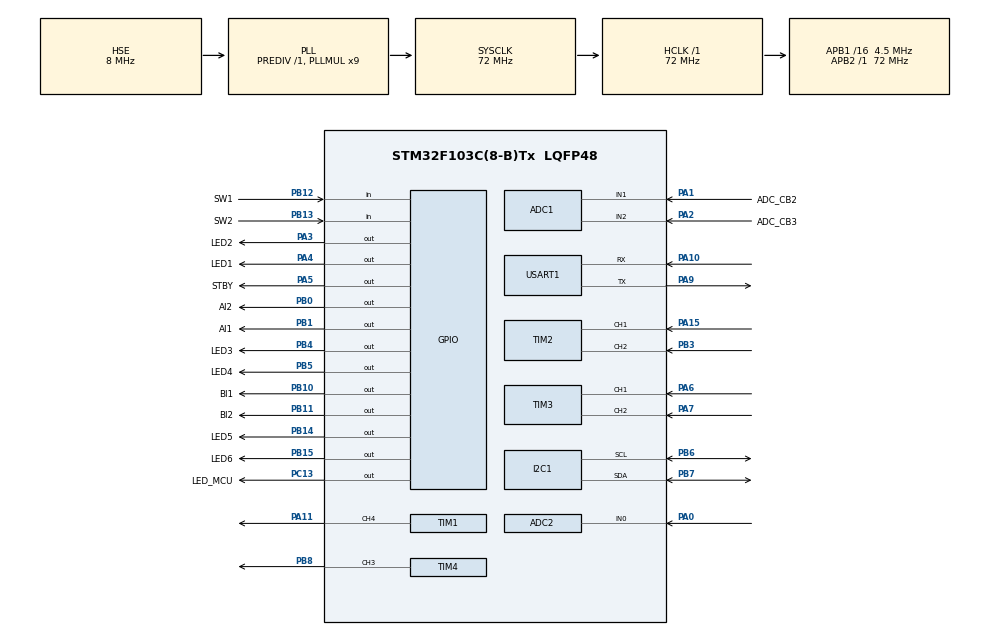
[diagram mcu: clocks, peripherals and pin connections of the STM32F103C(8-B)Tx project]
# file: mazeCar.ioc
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ADC1.Channel-3\#ChannelRegularConversion=ADC_CHANNEL_1
ADC1.Channel-4\#ChannelRegularConversion=ADC_CHANNEL_2
ADC1.ContinuousConvMode=ENABLE
ADC1.NbrOfConversion=2
ADC1.NbrOfConversionFlag=1
ADC1.Rank-3\#ChannelRegularConversion=1
ADC1.Rank-4\#ChannelRegularConversion=2
ADC1.SamplingTime-3\#ChannelRegularConversion=ADC_SAMPLETIME_239CYCLES_5
ADC1.SamplingTime-4\#ChannelRegularConversion=ADC_SAMPLETIME_239CYCLES_5
ADC1.master=1
ADC2.Channel-0\#ChannelRegularConversion=ADC_CHANNEL_0
ADC2.NbrOfConversionFlag=1
ADC2.Rank-0\#ChannelRegularConversion=1
ADC2.SamplingTime-0\#ChannelRegularConversion=ADC_SAMPLETIME_239CYCLES_5
I2C1.I2C_Mode=I2C_Standard
Mcu.Family=STM32F1
Mcu.Name=STM32F103C(8-B)Tx
Mcu.Package=LQFP48
NVIC.PriorityGroup=NVIC_PRIORITYGROUP_4
NVIC.TIM2_IRQn=true\:0\:0\:false\:false\:true\:true\:true\:true
NVIC.TIM3_IRQn=true\:0\:0\:false\:false\:true\:true\:true\:true
PA0-WKUP.Signal=ADCx_IN0
PA1.GPIO_Label=ADC_CB2
PA1.Signal=ADCx_IN1
PA10.Mode=Asynchronous
PA10.Signal=USART1_RX
PA11.Signal=S_TIM1_CH4
PA13.Mode=Serial_Wire
PA13.Signal=SYS_JTMS-SWDIO
PA14.Mode=Serial_Wire
PA14.Signal=SYS_JTCK-SWCLK
PA15.Signal=S_TIM2_CH1_ETR
PA2.GPIO_Label=ADC_CB3
PA2.Signal=ADCx_IN2
PA3.GPIO_Label=LED2
PA3.Signal=GPIO_Output
PA4.GPIO_Label=LED1
PA4.Signal=GPIO_Output
PA5.GPIO_Label=STBY
PA5.Signal=GPIO_Output
PA6.Signal=S_TIM3_CH1
PA7.Signal=S_TIM3_CH2
PA9.Mode=Asynchronous
PA9.Signal=USART1_TX
PB0.GPIO_Label=AI2
PB0.Signal=GPIO_Output
PB1.GPIO_Label=AI1
PB1.Signal=GPIO_Output
PB10.GPIO_Label=BI1
PB10.Signal=GPIO_Output
PB11.GPIO_Label=BI2
PB11.Signal=GPIO_Output
PB12.GPIO_Label=SW1
PB12.GPIO_PuPd=GPIO_PULLUP
PB12.Signal=GPIO_Input
PB13.GPIO_Label=SW2
PB13.GPIO_PuPd=GPIO_PULLUP
PB13.Signal=GPIO_Input
PB14.GPIO_Label=LED5
PB14.Signal=GPIO_Output
PB15.GPIO_Label=LED6
PB15.Signal=GPIO_Output
PB3.Signal=S_TIM2_CH2
PB4.GPIO_Label=LED3
PB4.Signal=GPIO_Output
PB5.GPIO_Label=LED4
PB5.Signal=GPIO_Output
PB6.Mode=I2C
PB6.Signal=I2C1_SCL
PB7.Mode=I2C
PB7.Signal=I2C1_SDA
PB8.Signal=S_TIM4_CH3
PC13-TAMPER-RTC.GPIO_Label=LED_MCU
PC13-TAMPER-RTC.Signal=GPIO_Output
PD0-OSC_IN.Mode=HSE-External-Oscillator
PD0-OSC_IN.Signal=RCC_OSC_IN
PD1-OSC_OUT.Mode=HSE-External-Oscillator
PD1-OSC_OUT.Signal=RCC_OSC_OUT
ProjectManager.HeapSize=0x200
ProjectManager.StackSize=0x400
ProjectManager.TargetToolchain=STM32CubeIDE
RCC.ADCPresc=RCC_ADCPCLK2_DIV6
RCC.AHBFreq_Value=72000000
RCC.APB1CLKDivider=RCC_HCLK_DIV16
RCC.APB1Freq_Value=4500000
RCC.APB1TimFreq_Value=9000000
RCC.APB2Freq_Value=72000000
RCC.APB2TimFreq_Value=72000000
RCC.HCLKFreq_Value=72000000
RCC.PLLMUL=RCC_PLL_MUL9
RCC.PLLSourceVirtual=RCC_PLLSOURCE_HSE
RCC.SYSCLKFreq_VALUE=72000000
RCC.SYSCLKSource=RCC_SYSCLKSOURCE_PLLCLK
RCC.USBFreq_Value=72000000
SH.ADCx_IN0.0=ADC2_IN0,IN0
SH.ADCx_IN1.0=ADC1_IN1,IN1
SH.ADCx_IN2.0=ADC1_IN2,IN2
SH.S_TIM1_CH4.0=TIM1_CH4,PWM Generation4 CH4
SH.S_TIM2_CH1_ETR.0=TIM2_CH1,Encoder_Interface
SH.S_TIM2_CH2.0=TIM2_CH2,Encoder_Interface
SH.S_TIM3_CH1.0=TIM3_CH1,Encoder_Interface
SH.S_TIM3_CH2.0=TIM3_CH2,Encoder_Interface
SH.S_TIM4_CH3.0=TIM4_CH3,PWM Generation3 CH3
TIM1.Channel-PWM\ Generation4\ CH4=TIM_CHANNEL_4
TIM1.Period=10000-1
TIM1.Prescaler=18-1
TIM4.Channel-PWM\ Generation3\ CH3=TIM_CHANNEL_3
TIM4.Period=10000-1
TIM4.Prescaler=18-1
USART1.VirtualMode=VM_ASYNC
VP_TIM1_VS_ClockSourceINT.Mode=Internal
VP_TIM4_VS_ClockSourceINT.Mode=Internal
board=custom

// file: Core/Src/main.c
/* USER CODE BEGIN Header */
/**
  ******************************************************************************
  * @file           : main.c
  * @brief          : Main program body
  ******************************************************************************
  * @attention
  *
  * Copyright (c) 2024 STMicroelectronics.
  * All rights reserved.
  *
  * This software is licensed under terms that can be found in the LICENSE file
  * in the root directory of this software component.
  * If no LICENSE file comes with this software, it is provided AS-IS.
  *
  ******************************************************************************
  */
/* USER CODE END Header */
#include "main.h"

/* USER CODE BEGIN Includes */
#include <stdio.h>
#include "MPU6050.h"
#include "math.h"
#include "API.h"
#include <stdlib.h>

#include "queue.h"
#include "queue_int.h"
#include "stack.h"
#include "FEE.h"

#include "encoder.h"
#include "TB6612FNG_driver.h"
/* USER CODE END Includes */

ADC_HandleTypeDef hadc1;
ADC_HandleTypeDef hadc2;

I2C_HandleTypeDef hi2c1;

TIM_HandleTypeDef htim1;
TIM_HandleTypeDef htim2;
TIM_HandleTypeDef htim3;
TIM_HandleTypeDef htim4;

UART_HandleTypeDef huart1;

/* USER CODE BEGIN PV */

double distance_straight = 0;
double distance_left = 0;
double distance_right = 0;

char Buffer[25] = {0};

MPU6050_t MPU6050;

double roll,pitch,yaw, froll, fpitch, fyaw = 0;
uint32_t elapsedTime, currentTime, previousTime;
double dt = 0.001;

uint8_t flag = 0;

const  int rows=16;
const  int cols=16;
const int dx[] = {1, -1, 0, 0};
const int dy[] = {0, 0, -1, 1};

wall_maze maze;
Queue myQueue;

PIDController WheelPID = {PID_KP, PID_KI, PID_KD,
                     PID_TAU,
                     PID_LIM_MIN, PID_LIM_MAX,
                     PID_LIM_MIN_INT, PID_LIM_MAX_INT,
                     SAMPLE_TIME_S};
double WheelPWM;

uint8_t row, col = 0;
uint8_t read_row, read_col = 0;
encoder_t enc_Right;
encoder_t enc_Left;
uint8_t debug;
uint16_t pwm = 3000;
uint64_t test = 0;
PIDController forwardPID = {PID_KP_MOTOR, PID_KI_MOTOR, PID_KD_MOTOR,
                     PID_TAU_MOTOR,
                     PID_LIM_MIN_MOTOR, PID_LIM_MAX_MOTOR,
                     PID_LIM_MIN_INT_MOTOR, PID_LIM_MAX_INT_MOTOR,
                     SAMPLE_TIME_S_MOTOR};
double forwardPWM;
PIDController leftWheelPID = {PID_KP_MOTOR, PID_KI_MOTOR, PID_KD_MOTOR,
                     PID_TAU_MOTOR,
                     PID_LIM_MIN_MOTOR, PID_LIM_MAX_MOTOR,
                     PID_LIM_MIN_INT_MOTOR, PID_LIM_MAX_INT_MOTOR,
                     SAMPLE_TIME_S_MOTOR};
PIDController rightWheelPID = {PID_KP_MOTOR, PID_KI_MOTOR, PID_KD_MOTOR,
                     PID_TAU_MOTOR,
                     PID_LIM_MIN_MOTOR, PID_LIM_MAX_MOTOR,
                     PID_LIM_MIN_INT_MOTOR, PID_LIM_MAX_INT_MOTOR,
					 SAMPLE_TIME_S_MOTOR};

double leftPWM = 3000;
double rightPWM = 3000;

uint32_t Lpwm;
uint32_t Rpwm;
int hieu = 0;
/* USER CODE END PV */

void SystemClock_Config(void);
static void MX_GPIO_Init(void);
static void MX_ADC1_Init(void);
static void MX_USART1_UART_Init(void);
static void MX_I2C1_Init(void);
static void MX_TIM2_Init(void);
static void MX_TIM1_Init(void);
static void MX_TIM3_Init(void);
static void MX_TIM4_Init(void);
static void MX_ADC2_Init(void);

/* USER CODE BEGIN 0 */

int _write(int file, char *ptr, int len)
{
    HAL_UART_Transmit(&huart1, (uint8_t*)ptr, len, HAL_MAX_DELAY);
    return len;
}

void angle(int goc){
	while(1){
		previousTime = HAL_GetTick();
		MPU6050_Read_Gyro(&hi2c1, &MPU6050);
		roll += (MPU6050.Gx - froll) *dt;
		pitch += (MPU6050.Gy - fpitch) *dt;
		yaw += (MPU6050.Gz - fyaw) *dt;

		WheelPWM = PIDController_Update(&WheelPID, goc, abs(yaw));
		__HAL_TIM_SET_COMPARE(&htim1, TIM_CHANNEL_4,abs(WheelPWM));
		__HAL_TIM_SET_COMPARE(&htim4, TIM_CHANNEL_3,abs(WheelPWM));
		if(abs(yaw) > goc)return;
		currentTime = HAL_GetTick();
		elapsedTime = currentTime - previousTime;
		dt = ((double) elapsedTime) / 1000;
	}
}
void ADC_Select_CH0(void){
    ADC_ChannelConfTypeDef sConfig = {0};

	sConfig.Channel = ADC_CHANNEL_0;
	sConfig.Rank = ADC_REGULAR_RANK_1;
	sConfig.SamplingTime = ADC_SAMPLETIME_71CYCLES_5;
	if (HAL_ADC_ConfigChannel(&hadc1, &sConfig) != HAL_OK)
	{
	  Error_Handler();
	}
}
void ADC_Select_CH1(void){
  ADC_ChannelConfTypeDef sConfig = {0};
	sConfig.Channel = ADC_CHANNEL_1;
	sConfig.Rank = ADC_REGULAR_RANK_1;
	sConfig.SamplingTime = ADC_SAMPLETIME_71CYCLES_5;
	if (HAL_ADC_ConfigChannel(&hadc1, &sConfig) != HAL_OK)
	{
	  Error_Handler();
	}
}
void ADC_Select_CH2(void){
  ADC_ChannelConfTypeDef sConfig = {0};
	sConfig.Channel = ADC_CHANNEL_2;
	sConfig.Rank = ADC_REGULAR_RANK_1;
	sConfig.SamplingTime = ADC_SAMPLETIME_71CYCLES_5;
	if (HAL_ADC_ConfigChannel(&hadc1, &sConfig) != HAL_OK)
	{
	  Error_Handler();
	}
}
double distanceRight(){
	uint16_t ADC_VAL;
	double vol = 0;
	uint16_t total = 0;
  	ADC_Select_CH2();
  	for (uint8_t i = 0; i < 5; i++){
  	  	HAL_ADC_Start(&hadc1);
  	  	HAL_ADC_PollForConversion(&hadc1, 1000);
  	  	ADC_VAL = HAL_ADC_GetValue(&hadc1);
  	  	HAL_ADC_Stop(&hadc1);
  	    total = total + ADC_VAL;
  	}

  	vol = (total/5*3.3)/4095;
  	return 13 * pow(vol, -1) - 0.7;
}
double distanceStraight(){
	uint16_t ADC_VAL;
	double vol = 0;
	uint16_t total = 0;
  	ADC_Select_CH1();
  	for (uint8_t i = 0; i < 5; i++){
  	  	HAL_ADC_Start(&hadc1);
  	  	HAL_ADC_PollForConversion(&hadc1, 1000);
  	  	ADC_VAL = HAL_ADC_GetValue(&hadc1);
  	  	HAL_ADC_Stop(&hadc1);
  	    total = total + ADC_VAL;
  	}

  	vol = (total/5*3.3)/4095;
  	return 13 * pow(vol, -1)- 0.7;
}

double distanceLeft(){

	uint16_t ADC_VAL;
	double vol = 0;
	uint16_t total = 0;

  	for (uint8_t i = 0; i < 5; i++){
  		HAL_ADC_Start(&hadc2);
  	  	HAL_ADC_PollForConversion(&hadc2, 1000);
  	  	ADC_VAL = HAL_ADC_GetValue(&hadc2);
  	    total = total + ADC_VAL;
  	    HAL_ADC_Stop(&hadc2);
  	}
  	vol = (total/5*3.3)/4095;
  	return 13 * pow(vol, -1) - 0.7;
}

void filter_gyro();

bool isValid(int x, int y) {
    return (x >= 0 && x < rows && y >= 0 && y < cols);
}
void init_arr(int arr[ROW][COL], int row, int col) {
    for (int i = 0; i < row; i++) {
        for (int j = 0; j < col; j++) {
            arr[i][j] = -1;
        }
    }
}
void check_and_fill(int arr[ROW][COL],int row,int col,int value)
{
    if(row<0 ||col<0||row>=16||col>=16||arr[row][col]!=-1)return;
    value+=1;
    coord point={row,col,value};
    pushQueue(&myQueue,point);
    arr[row][col]=value;
}

void init_flood(int arr[ROW][COL],int row,int col)
{
    int count_=0;
    coord point={row,col,count_};
    pushQueue(&myQueue,point);
    arr[row][col]=0;
    coord point2={row+1,col,count_};
    pushQueue(&myQueue,point2);
    arr[row+1][col]=0;
    coord point3={row,col+1,count_};
    pushQueue(&myQueue,point3);
    arr[row][col+1]=0;
    coord point4={row+1,col+1,count_};
    pushQueue(&myQueue,point4);
    arr[row+1][col+1]=0;
    while (!isEmptyQueue(&myQueue)) {
        coord frontCoord = peekQueue(&myQueue);
        popQueue(&myQueue);
        check_and_fill(arr,frontCoord.row+1,frontCoord.col,frontCoord.value);
        check_and_fill(arr,frontCoord.row-1,frontCoord.col,frontCoord.value);
        check_and_fill(arr,frontCoord.row,frontCoord.col+1,frontCoord.value);
        check_and_fill(arr,frontCoord.row,frontCoord.col-1,frontCoord.value);
    }
}

void init_maze()
{
    for(int i =0;i<16;i++)
    {
        for(int j=0;j<16;j++)
        {
            maze.cells[i][j].visited=0;
            maze.cells[i][j].angle_update=90;
            maze.cells[i][j].dead=0;
            for(int k = 0 ;k<4;k++)maze.cells[i][j].walls[k]=0;
        }
    }
}

void intToStr(int num, char *str) {
    sprintf(str, "%d", num);
}
cell_info cell_direction_adjust(cell_info cell)
{
    cell_info cell_new;
    cell_new=cell;

    for(int i=0;i<4;i++)
    {
        int ind = i;

        switch(cell.angle_update)
        {
            case 90:
                break;
            case 270:
                if(i%2==0)ind+=1;
                else ind-=1;
                break;
            case 0:
                if(i==0 || i ==1)ind+=2;
                else if(i==2)ind=1;
                else ind=0;
                break;
            case 180:
                if(i==2 || i ==3)ind-=2;
                else if(i==0)ind=3;
                else ind=2;
                break;
        }
        cell_new.walls[i]=cell.walls[ind];
    }
    return cell_new;
}

cell_info update_walls(int angle_now,int row,int col)
{
    cell_info new_cell;
    new_cell.angle_update=angle_now;
    double straight = distanceStraight();
    double left = distanceLeft();
    double right = distanceRight();
    bool boolfront = 0;
    bool boolleft = 0;
    bool boolright = 0;
    if(left < 10){
    	boolleft = 1;
    }
    if (right < 10){
    	boolright = 1;
    }
    if(straight < 6){
    	boolfront = 1;
    }

    new_cell.walls[UP]=boolfront;
    new_cell.walls[DOWN]=0;
    new_cell.walls[LEFT]=boolleft;
    new_cell.walls[RIGHT]=boolright;
    new_cell.dead=0;
    new_cell.visited=1;
    maze.cells[row][col]=cell_direction_adjust(new_cell);
    if(new_cell.walls[UP]==1&&new_cell.walls[LEFT]==1&&new_cell.walls[RIGHT]==1&&row!=0&&col!=0)
    {
        maze.cells[row][col].dead=1;
    }
    for(int i=0;i<4;i++)
    {
        int newRow=row+dy[i];
        int newCol=col+dx[i];
        if(isValid(newRow,newCol))
        {
            if(i==UP)maze.cells[newRow][newCol].walls[DOWN]=maze.cells[row][col].walls[UP];
            else if(i==LEFT)maze.cells[newRow][newCol].walls[RIGHT]=maze.cells[row][col].walls[LEFT];
            else if(i==RIGHT)maze.cells[newRow][newCol].walls[LEFT]=maze.cells[row][col].walls[RIGHT];
        }
    }
    return new_cell;
}
void go_to_cell(int *angle_now,int dir)
{
    switch(dir)
            {
                case -1:
                    break;
                case UP:
                    API_moveForward();
                    break;
                case DOWN:
                    *angle_now-=180;
                    API_turnRight();
                    API_turnRight();
                    API_moveForward();
                    break;
                case LEFT:
                    *angle_now+=90;
                    API_turnLeft();
                    API_moveForward();
                    break;
                case RIGHT:
                    *angle_now-=90;
                    API_turnRight();
                    API_moveForward();
                    break;
                default:
                    break;
            }
            *angle_now = *angle_now % 360;
            // �?ảm bảo góc không bị âm
            if (*angle_now < 0) {
                *angle_now += 360;
            }
}
bool check_wall_angle(cell_info cell,int *dir)
{
    switch(cell.angle_update)
    {
        case 90:
            break;
        case 270:
            if(*dir%2==0)*dir+=1;
            else *dir-=1;
            break;
        case 0:
            if(*dir==0 || *dir ==1)*dir+=2;
            else if(*dir==2)*dir=1;
            else *dir=0;
            break;
        case 180:
             if(*dir==2 || *dir ==3)*dir-=2;
            else if(*dir==0)*dir=3;
            else *dir=2;
            break;
    }
    return cell.walls[*dir];
}
coord get_min_neighbour(cell_info cell_wall,coord cur, int (*arr)[ROW][COL],bool change_)
{
    int min_neightbor=255;
    coord next_step;
    next_step.value=-1;
    int ind;
    for (int dir = 0; dir < 4; ++dir) {
        int newRow = cur.row + dy[dir]; // 0 0 -1 1
        int newCol = cur.col + dx[dir]; //1 -1 0 0
        ind=dir;
        bool check_=cell_wall.walls[dir];
        if(change_)check_=check_wall_angle(cell_wall,&ind);

        if(isValid(newRow,newCol) && !check_)
        {
            if((*arr)[newRow][newCol]<=min_neightbor)
            {
                min_neightbor=(*arr)[newRow][newCol];
                next_step.row=newRow;
                next_step.col=newCol;
                next_step.value=ind;
            }
        }
    }
    return next_step;
}
void flood(Stack *stack_flood,int (*arr)[ROW][COL])
{
    // log_out("flood");
    coord cur_stack;
    coord next_step;

    while(!isEmptyStack(stack_flood))
    {

        cur_stack=peekStack(stack_flood);
        popStack(stack_flood);
        int min_neightbor=255;
        bool check_;

        next_step=get_min_neighbour(maze.cells[cur_stack.row][cur_stack.col],cur_stack,arr,0);

        min_neightbor=(*arr)[next_step.row][next_step.col];
        if((*arr)[cur_stack.row][cur_stack.col]-1 != min_neightbor )
        {
            for(int i =0 ;i<4;i++)
            {
                coord cur_add;
                cur_add.row= cur_stack.row + dy[i]; // 0 0 -1 1
                cur_add.col= cur_stack.col + dx[i]; //1 -1 0 0
                check_=maze.cells[cur_stack.row][cur_stack.col].walls[i];
                if(isValid(cur_add.row,cur_add.col) &&(*arr)[cur_add.row][cur_add.col]!=0&&!check_)
                {
                    pushStack(stack_flood,cur_add);
                }
            }
            if((*arr)[cur_stack.row][cur_stack.col]!=0)(*arr)[cur_stack.row][cur_stack.col]=min_neightbor+1;
        }
        int stack_size=sizeStack(stack_flood);
        if(stack_size>=35){
            for(int i=0;i<stack_size;i++)
            {
                popStack(stack_flood);
            }
            return;
        }
    }
}
coord floodfill(coord start,coord dest,int (*arr)[ROW][COL],int *angle_now)
{
    Queue path_queue;
    initializeQueue(&path_queue);

    pushQueue(&path_queue,start);
    coord cur=start;
    cell_info new_cell;

    Stack stack_flood;
    initializeStack(&stack_flood);

    pushStack(&stack_flood,start);

    int path_distance_value_find=0;
    // int save_row,save_col;
    coord next_step;

    while(1)
    {
        if(!isEmptyQueue(&path_queue)) // dua ra quyet dinh va go
        {
            cur = peekQueue(&path_queue);

            new_cell=update_walls(*angle_now,cur.row,cur.col);

            if((*arr)[cur.row][cur.col]==(*arr)[dest.row][dest.col]){
                break;
            }
            flood(&stack_flood,arr);
            popQueue(&path_queue);
            next_step=get_min_neighbour(new_cell,cur,arr,1);
            pushQueue(&path_queue,next_step);
            pushStack(&stack_flood,next_step);
            go_to_cell(angle_now,next_step.value);
            path_distance_value_find++;
        }
        else{
            break;
        }
    }

    while(!isEmptyQueue(&path_queue)) popQueue(&path_queue);

    coord p_return={next_step.row,next_step.col,0};
    return p_return;
}
void init_flood_start(int (*arr)[ROW][COL],int row_,int col_,int back_)
{
    int count_=0;
    for(int i=0;i<16;i++)
    {
        for(int j = 0 ;j<16;j++)
        {
            (*arr)[i][j]=-1;
            if(back_==2&&maze.cells[i][j].visited==false){
                (*arr)[i][j]=255;
                maze.cells[i][j].dead=true;
            }
        }
    }
    if(back_!=1)
    {
        coord point2={row_+1,col_,count_};
        pushQueue(&myQueue,point2);
        (*arr)[row_+1][col_]=0;
        coord point3={row_,col_+1,count_};
        pushQueue(&myQueue,point3);
        (*arr)[row_][col_+1]=0;
        coord point4={row_+1,col_+1,count_};
        pushQueue(&myQueue,point4);
        (*arr)[row_+1][col_+1]=0;
    }
    coord point={row_,col_,count_};
    pushQueue(&myQueue,point);
    (*arr)[row_][col_]=0;
    while(!isEmptyQueue(&myQueue))
    {
        coord frontCoord = peekQueue(&myQueue);
        popQueue(&myQueue);
          for (int i = 0; i < 4; ++i) {
                int newRow = frontCoord.row + dy[i]; // 0 0 -1 1
                int newCol = frontCoord.col + dx[i]; //1 -1 0 0
                bool check_=maze.cells[frontCoord.row][frontCoord.col].walls[i];
                if(!check_)check_and_fill(*arr,newRow,newCol,frontCoord.value);
          }
          if(sizeQueue(&myQueue)>120){
            break;
          }
    }
}

/* USER CODE END 0 */

int main(void)
{

  /* MCU Configuration--------------------------------------------------------*/

  /* Reset of all peripherals, Initializes the Flash interface and the Systick. */
  HAL_Init();

  /* Configure the system clock */
  SystemClock_Config();

  /* Initialize all configured peripherals */
  MX_GPIO_Init();
  MX_ADC1_Init();
  MX_USART1_UART_Init();
  MX_I2C1_Init();
  MX_TIM2_Init();
  MX_TIM1_Init();
  MX_TIM3_Init();
  MX_TIM4_Init();
  MX_ADC2_Init();
  /* USER CODE BEGIN 2 */

    HAL_TIM_Encoder_Start_IT(&htim2, TIM_CHANNEL_ALL);
    HAL_TIM_Encoder_Start_IT(&htim3, TIM_CHANNEL_ALL);
    HAL_TIM_PWM_Start(&htim1, TIM_CHANNEL_4);
    HAL_TIM_PWM_Start(&htim4, TIM_CHANNEL_3);
    forwardGPIO();
	PIDController_Init(&leftWheelPID);
	PIDController_Init(&forwardPID);
	init_encoder(&enc_Left, LEFT_WHEEL);
	init_encoder(&enc_Right, RIGHT_WHEEL);

//	while(1);
//    while(1){
//    	distance_left = distanceLeft();
//    	distance_right = distanceRight();
//    	distance_straight =  distanceStraight() ;
//    }
//    PIDController_Init(&WheelPID);
	uint8_t timeout = 10;
	while (MPU6050_Init(&hi2c1) == 1){
		timeout--;
		if(timeout == 0){
			HAL_NVIC_SystemReset();
		}
	}

	filter_gyro();
//	API_turnLeft();
//	API_turnRight();
//	while(1){
//		previousTime = HAL_GetTick();
//		MPU6050_Read_Gyro(&hi2c1, &MPU6050);
//		roll += (MPU6050.Gx - froll) *dt;
//		pitch += (MPU6050.Gy - fpitch) *dt;
//		yaw += (MPU6050.Gz - fyaw) *dt;
//		currentTime = HAL_GetTick();
//		elapsedTime = currentTime - previousTime;
//		dt = ((double) elapsedTime) / 1000;
//	}
//    __HAL_TIM_SET_COUNTER(&htim3, 32767);
//    __HAL_TIM_SET_COUNTER(&htim2, 32767);

//	init_encoder(&enc_Left, LEFT_WHEEL);
//	init_encoder(&enc_Right, RIGHT_WHEEL);

//	PIDController_Init(&leftWheelPID);
//	PIDController_Init(&rightWheelPID);
//    PIDController_Init(&forwardPID);
//	roll = 0;
//	pitch = 0;
//	yaw = 0;
//	forwardGPIO();
	while(1){
		previousTime = HAL_GetTick();
		MPU6050_Read_Gyro(&hi2c1, &MPU6050);
		roll += (MPU6050.Gx - froll) *dt;
		pitch += (MPU6050.Gy - fpitch) *dt;
		yaw += (MPU6050.Gz - fyaw) *dt;

		forwardPWM = PIDController_Update(&forwardPID, 0, abs(yaw));

//		__HAL_TIM_SET_COMPARE(&htim1, TIM_CHANNEL_4,(uint16_t)abs(leftPWM));
//		__HAL_TIM_SET_COMPARE(&htim4, TIM_CHANNEL_3,(uint16_t)abs(rightPWM));
		currentTime = HAL_GetTick();
		elapsedTime = currentTime - previousTime;
		dt = ((double) elapsedTime) / 1000;
	}
	while(1){
		HAL_Delay(40);
//		distance_left = distanceLeft();
//		distance_right = distanceRight();
//		distance_straight =  distanceStraight();
//		if(distance_straight < 10){
//			if(distance_right > 10){
//				API_turnRight();
//				forwardGPIO();
//			}
//			else if (distance_left > 10){
//				API_turnLeft();
//				forwardGPIO();
//			}
//			else {
//				API_turnLeft();
//				API_turnLeft();
//				forwardGPIO();
//			}
//		}
		update_encoder(&enc_Left);
		update_encoder(&enc_Right);
		leftPWM = leftPWM + PIDController_Update(&leftWheelPID, -150, enc_Left.speed);
		rightPWM = rightPWM + PIDController_Update(&rightWheelPID, -150, enc_Right.speed);

		Lpwm = (uint32_t)abs(leftPWM);
		Rpwm = (uint32_t)abs(rightPWM);
		if(Lpwm > 10000) Lpwm = 10000;
		if(Rpwm > 10000) Rpwm = 10000;
		__HAL_TIM_SET_COMPARE(&htim1, TIM_CHANNEL_4,Lpwm);
		__HAL_TIM_SET_COMPARE(&htim4, TIM_CHANNEL_3,Rpwm);

	}

    initializeQueue(&myQueue);
    int arr[ROW][COL];

    init_arr(arr,ROW,COL);
    init_flood(arr,7,7);
    init_maze();

    coord start={0,0,arr[0][0]};
    coord dest={7,7,arr[7][7]};
    int angle_now=90;
    coord new_coord;

    new_coord = floodfill(start,dest,&arr,&angle_now);

	init_flood_start(&arr,0,0,1);
	new_coord=floodfill(new_coord,start,&arr,&angle_now);
	init_flood_start(&arr,7,7,2);
	floodfill(start,dest,&arr,&angle_now);

  /* USER CODE END 2 */

  /* Infinite loop */
  while (1)
  {

  }
}

void SystemClock_Config(void)
{
  RCC_OscInitTypeDef RCC_OscInitStruct = {0};
  RCC_ClkInitTypeDef RCC_ClkInitStruct = {0};
  RCC_PeriphCLKInitTypeDef PeriphClkInit = {0};

  /** Initializes the RCC Oscillators according to the specified parameters
  * in the RCC_OscInitTypeDef structure.
  */
  RCC_OscInitStruct.OscillatorType = RCC_OSCILLATORTYPE_HSE;
  RCC_OscInitStruct.HSEState = RCC_HSE_ON;
  RCC_OscInitStruct.HSEPredivValue = RCC_HSE_PREDIV_DIV1;
  RCC_OscInitStruct.HSIState = RCC_HSI_ON;
  RCC_OscInitStruct.PLL.PLLState = RCC_PLL_ON;
  RCC_OscInitStruct.PLL.PLLSource = RCC_PLLSOURCE_HSE;
  RCC_OscInitStruct.PLL.PLLMUL = RCC_PLL_MUL9;
  if (HAL_RCC_OscConfig(&RCC_OscInitStruct) != HAL_OK)
  {
    Error_Handler();
  }

  /** Initializes the CPU, AHB and APB buses clocks
  */
  RCC_ClkInitStruct.ClockType = RCC_CLOCKTYPE_HCLK|RCC_CLOCKTYPE_SYSCLK
                              |RCC_CLOCKTYPE_PCLK1|RCC_CLOCKTYPE_PCLK2;
  RCC_ClkInitStruct.SYSCLKSource = RCC_SYSCLKSOURCE_PLLCLK;
  RCC_ClkInitStruct.AHBCLKDivider = RCC_SYSCLK_DIV1;
  RCC_ClkInitStruct.APB1CLKDivider = RCC_HCLK_DIV16;
  RCC_ClkInitStruct.APB2CLKDivider = RCC_HCLK_DIV1;

  if (HAL_RCC_ClockConfig(&RCC_ClkInitStruct, FLASH_LATENCY_2) != HAL_OK)
  {
    Error_Handler();
  }
  PeriphClkInit.PeriphClockSelection = RCC_PERIPHCLK_ADC;
  PeriphClkInit.AdcClockSelection = RCC_ADCPCLK2_DIV6;
  if (HAL_RCCEx_PeriphCLKConfig(&PeriphClkInit) != HAL_OK)
  {
    Error_Handler();
  }
}

static void MX_ADC1_Init(void)
{

//  ADC_ChannelConfTypeDef sConfig = {0};

  /** Common config
  */
  hadc1.Instance = ADC1;
  hadc1.Init.ScanConvMode = ADC_SCAN_ENABLE;
  hadc1.Init.ContinuousConvMode = ENABLE;
  hadc1.Init.DiscontinuousConvMode = DISABLE;
  hadc1.Init.ExternalTrigConv = ADC_SOFTWARE_START;
  hadc1.Init.DataAlign = ADC_DATAALIGN_RIGHT;
  hadc1.Init.NbrOfConversion = 1;
  if (HAL_ADC_Init(&hadc1) != HAL_OK)
  {
    Error_Handler();
  }

  /** Configure Regular Channel
  */
//  sConfig.Channel = ADC_CHANNEL_1;
//  sConfig.Rank = ADC_REGULAR_RANK_1;
//  sConfig.SamplingTime = ADC_SAMPLETIME_239CYCLES_5;
//  if (HAL_ADC_ConfigChannel(&hadc1, &sConfig) != HAL_OK)
//  {
//    Error_Handler();
//  }
//
//  /** Configure Regular Channel
//  */
//  sConfig.Channel = ADC_CHANNEL_2;
//  sConfig.Rank = ADC_REGULAR_RANK_2;
//  if (HAL_ADC_ConfigChannel(&hadc1, &sConfig) != HAL_OK)
//  {
//    Error_Handler();
//  }

}

static void MX_ADC2_Init(void)
{

  ADC_ChannelConfTypeDef sConfig = {0};

  /** Common config
  */
  hadc2.Instance = ADC2;
  hadc2.Init.ScanConvMode = ADC_SCAN_DISABLE;
  hadc2.Init.ContinuousConvMode = DISABLE;
  hadc2.Init.DiscontinuousConvMode = DISABLE;
  hadc2.Init.ExternalTrigConv = ADC_SOFTWARE_START;
  hadc2.Init.DataAlign = ADC_DATAALIGN_RIGHT;
  hadc2.Init.NbrOfConversion = 1;
  if (HAL_ADC_Init(&hadc2) != HAL_OK)
  {
    Error_Handler();
  }

  /** Configure Regular Channel
  */
  sConfig.Channel = ADC_CHANNEL_0;
  sConfig.Rank = ADC_REGULAR_RANK_1;
  sConfig.SamplingTime = ADC_SAMPLETIME_239CYCLES_5;
  if (HAL_ADC_ConfigChannel(&hadc2, &sConfig) != HAL_OK)
  {
    Error_Handler();
  }

}

static void MX_I2C1_Init(void)
{

  hi2c1.Instance = I2C1;
  hi2c1.Init.ClockSpeed = 100000;
  hi2c1.Init.DutyCycle = I2C_DUTYCYCLE_2;
  hi2c1.Init.OwnAddress1 = 0;
  hi2c1.Init.AddressingMode = I2C_ADDRESSINGMODE_7BIT;
  hi2c1.Init.DualAddressMode = I2C_DUALADDRESS_DISABLE;
  hi2c1.Init.OwnAddress2 = 0;
  hi2c1.Init.GeneralCallMode = I2C_GENERALCALL_DISABLE;
  hi2c1.Init.NoStretchMode = I2C_NOSTRETCH_DISABLE;
  if (HAL_I2C_Init(&hi2c1) != HAL_OK)
  {
    Error_Handler();
  }

}

static void MX_TIM1_Init(void)
{

  TIM_ClockConfigTypeDef sClockSourceConfig = {0};
  TIM_MasterConfigTypeDef sMasterConfig = {0};
  TIM_OC_InitTypeDef sConfigOC = {0};
  TIM_BreakDeadTimeConfigTypeDef sBreakDeadTimeConfig = {0};

  htim1.Instance = TIM1;
  htim1.Init.Prescaler = 18-1;
  htim1.Init.CounterMode = TIM_COUNTERMODE_UP;
  htim1.Init.Period = 10000-1;
  htim1.Init.ClockDivision = TIM_CLOCKDIVISION_DIV1;
  htim1.Init.RepetitionCounter = 0;
  htim1.Init.AutoReloadPreload = TIM_AUTORELOAD_PRELOAD_DISABLE;
  if (HAL_TIM_Base_Init(&htim1) != HAL_OK)
  {
    Error_Handler();
  }
  sClockSourceConfig.ClockSource = TIM_CLOCKSOURCE_INTERNAL;
  if (HAL_TIM_ConfigClockSource(&htim1, &sClockSourceConfig) != HAL_OK)
  {
    Error_Handler();
  }
  if (HAL_TIM_PWM_Init(&htim1) != HAL_OK)
  {
    Error_Handler();
  }
  sMasterConfig.MasterOutputTrigger = TIM_TRGO_RESET;
  sMasterConfig.MasterSlaveMode = TIM_MASTERSLAVEMODE_DISABLE;
  if (HAL_TIMEx_MasterConfigSynchronization(&htim1, &sMasterConfig) != HAL_OK)
  {
    Error_Handler();
  }
  sConfigOC.OCMode = TIM_OCMODE_PWM1;
  sConfigOC.Pulse = 0;
  sConfigOC.OCPolarity = TIM_OCPOLARITY_HIGH;
  sConfigOC.OCFastMode = TIM_OCFAST_DISABLE;
  sConfigOC.OCIdleState = TIM_OCIDLESTATE_RESET;
  sConfigOC.OCNIdleState = TIM_OCNIDLESTATE_RESET;
  if (HAL_TIM_PWM_ConfigChannel(&htim1, &sConfigOC, TIM_CHANNEL_4) != HAL_OK)
  {
    Error_Handler();
  }
  sBreakDeadTimeConfig.OffStateRunMode = TIM_OSSR_DISABLE;
  sBreakDeadTimeConfig.OffStateIDLEMode = TIM_OSSI_DISABLE;
  sBreakDeadTimeConfig.LockLevel = TIM_LOCKLEVEL_OFF;
  sBreakDeadTimeConfig.DeadTime = 0;
  sBreakDeadTimeConfig.BreakState = TIM_BREAK_DISABLE;
  sBreakDeadTimeConfig.BreakPolarity = TIM_BREAKPOLARITY_HIGH;
  sBreakDeadTimeConfig.AutomaticOutput = TIM_AUTOMATICOUTPUT_DISABLE;
  if (HAL_TIMEx_ConfigBreakDeadTime(&htim1, &sBreakDeadTimeConfig) != HAL_OK)
  {
    Error_Handler();
  }
  HAL_TIM_MspPostInit(&htim1);

}

static void MX_TIM2_Init(void)
{

  TIM_Encoder_InitTypeDef sConfig = {0};
  TIM_MasterConfigTypeDef sMasterConfig = {0};

  htim2.Instance = TIM2;
  htim2.Init.Prescaler = 0;
  htim2.Init.CounterMode = TIM_COUNTERMODE_UP;
  htim2.Init.Period = 65535;
  htim2.Init.ClockDivision = TIM_CLOCKDIVISION_DIV1;
  htim2.Init.AutoReloadPreload = TIM_AUTORELOAD_PRELOAD_DISABLE;
  sConfig.EncoderMode = TIM_ENCODERMODE_TI1;
  sConfig.IC1Polarity = TIM_ICPOLARITY_RISING;
  sConfig.IC1Selection = TIM_ICSELECTION_DIRECTTI;
  sConfig.IC1Prescaler = TIM_ICPSC_DIV1;
  sConfig.IC1Filter = 0;
  sConfig.IC2Polarity = TIM_ICPOLARITY_RISING;
  sConfig.IC2Selection = TIM_ICSELECTION_DIRECTTI;
  sConfig.IC2Prescaler = TIM_ICPSC_DIV1;
  sConfig.IC2Filter = 0;
  if (HAL_TIM_Encoder_Init(&htim2, &sConfig) != HAL_OK)
  {
    Error_Handler();
  }
  sMasterConfig.MasterOutputTrigger = TIM_TRGO_RESET;
  sMasterConfig.MasterSlaveMode = TIM_MASTERSLAVEMODE_DISABLE;
  if (HAL_TIMEx_MasterConfigSynchronization(&htim2, &sMasterConfig) != HAL_OK)
  {
    Error_Handler();
  }

}

static void MX_TIM3_Init(void)
{

  TIM_Encoder_InitTypeDef sConfig = {0};
  TIM_MasterConfigTypeDef sMasterConfig = {0};

  htim3.Instance = TIM3;
  htim3.Init.Prescaler = 0;
  htim3.Init.CounterMode = TIM_COUNTERMODE_UP;
  htim3.Init.Period = 65535;
  htim3.Init.ClockDivision = TIM_CLOCKDIVISION_DIV1;
  htim3.Init.AutoReloadPreload = TIM_AUTORELOAD_PRELOAD_DISABLE;
  sConfig.EncoderMode = TIM_ENCODERMODE_TI1;
  sConfig.IC1Polarity = TIM_ICPOLARITY_RISING;
  sConfig.IC1Selection = TIM_ICSELECTION_DIRECTTI;
  sConfig.IC1Prescaler = TIM_ICPSC_DIV1;
  sConfig.IC1Filter = 0;
  sConfig.IC2Polarity = TIM_ICPOLARITY_RISING;
  sConfig.IC2Selection = TIM_ICSELECTION_DIRECTTI;
  sConfig.IC2Prescaler = TIM_ICPSC_DIV1;
  sConfig.IC2Filter = 0;
  if (HAL_TIM_Encoder_Init(&htim3, &sConfig) != HAL_OK)
  {
    Error_Handler();
  }
  sMasterConfig.MasterOutputTrigger = TIM_TRGO_RESET;
  sMasterConfig.MasterSlaveMode = TIM_MASTERSLAVEMODE_DISABLE;
  if (HAL_TIMEx_MasterConfigSynchronization(&htim3, &sMasterConfig) != HAL_OK)
  {
    Error_Handler();
  }

}

static void MX_TIM4_Init(void)
{

  TIM_ClockConfigTypeDef sClockSourceConfig = {0};
  TIM_MasterConfigTypeDef sMasterConfig = {0};
  TIM_OC_InitTypeDef sConfigOC = {0};

  htim4.Instance = TIM4;
  htim4.Init.Prescaler = 18-1;
  htim4.Init.CounterMode = TIM_COUNTERMODE_UP;
  htim4.Init.Period = 10000-1;
  htim4.Init.ClockDivision = TIM_CLOCKDIVISION_DIV1;
  htim4.Init.AutoReloadPreload = TIM_AUTORELOAD_PRELOAD_DISABLE;
  if (HAL_TIM_Base_Init(&htim4) != HAL_OK)
  {
    Error_Handler();
  }
  sClockSourceConfig.ClockSource = TIM_CLOCKSOURCE_INTERNAL;
  if (HAL_TIM_ConfigClockSource(&htim4, &sClockSourceConfig) != HAL_OK)
  {
    Error_Handler();
  }
  if (HAL_TIM_PWM_Init(&htim4) != HAL_OK)
  {
    Error_Handler();
  }
  sMasterConfig.MasterOutputTrigger = TIM_TRGO_RESET;
  sMasterConfig.MasterSlaveMode = TIM_MASTERSLAVEMODE_DISABLE;
  if (HAL_TIMEx_MasterConfigSynchronization(&htim4, &sMasterConfig) != HAL_OK)
  {
    Error_Handler();
  }
  sConfigOC.OCMode = TIM_OCMODE_PWM1;
  sConfigOC.Pulse = 0;
  sConfigOC.OCPolarity = TIM_OCPOLARITY_HIGH;
  sConfigOC.OCFastMode = TIM_OCFAST_DISABLE;
  if (HAL_TIM_PWM_ConfigChannel(&htim4, &sConfigOC, TIM_CHANNEL_3) != HAL_OK)
  {
    Error_Handler();
  }
  HAL_TIM_MspPostInit(&htim4);

}

static void MX_USART1_UART_Init(void)
{

  huart1.Instance = USART1;
  huart1.Init.BaudRate = 115200;
  huart1.Init.WordLength = UART_WORDLENGTH_8B;
  huart1.Init.StopBits = UART_STOPBITS_1;
  huart1.Init.Parity = UART_PARITY_NONE;
  huart1.Init.Mode = UART_MODE_TX_RX;
  huart1.Init.HwFlowCtl = UART_HWCONTROL_NONE;
  huart1.Init.OverSampling = UART_OVERSAMPLING_16;
  if (HAL_UART_Init(&huart1) != HAL_OK)
  {
    Error_Handler();
  }

}

static void MX_GPIO_Init(void)
{
  GPIO_InitTypeDef GPIO_InitStruct = {0};

  /* GPIO Ports Clock Enable */
  __HAL_RCC_GPIOC_CLK_ENABLE();
  __HAL_RCC_GPIOD_CLK_ENABLE();
  __HAL_RCC_GPIOA_CLK_ENABLE();
  __HAL_RCC_GPIOB_CLK_ENABLE();

  /*Configure GPIO pin Output Level */
  HAL_GPIO_WritePin(LED_MCU_GPIO_Port, LED_MCU_Pin, GPIO_PIN_RESET);

  /*Configure GPIO pin Output Level */
  HAL_GPIO_WritePin(GPIOA, LED2_Pin|LED1_Pin|STBY_Pin, GPIO_PIN_RESET);

  /*Configure GPIO pin Output Level */
  HAL_GPIO_WritePin(GPIOB, AI2_Pin|AI1_Pin|BI1_Pin|BI2_Pin
                          |LED5_Pin|LED6_Pin|LED3_Pin|LED4_Pin, GPIO_PIN_RESET);

  /*Configure GPIO pin : LED_MCU_Pin */
  GPIO_InitStruct.Pin = LED_MCU_Pin;
  GPIO_InitStruct.Mode = GPIO_MODE_OUTPUT_PP;
  GPIO_InitStruct.Pull = GPIO_NOPULL;
  GPIO_InitStruct.Speed = GPIO_SPEED_FREQ_LOW;
  HAL_GPIO_Init(LED_MCU_GPIO_Port, &GPIO_InitStruct);

  /*Configure GPIO pins : LED2_Pin LED1_Pin STBY_Pin */
  GPIO_InitStruct.Pin = LED2_Pin|LED1_Pin|STBY_Pin;
  GPIO_InitStruct.Mode = GPIO_MODE_OUTPUT_PP;
  GPIO_InitStruct.Pull = GPIO_NOPULL;
  GPIO_InitStruct.Speed = GPIO_SPEED_FREQ_LOW;
  HAL_GPIO_Init(GPIOA, &GPIO_InitStruct);

  /*Configure GPIO pins : AI2_Pin AI1_Pin BI1_Pin BI2_Pin
                           LED5_Pin LED6_Pin LED3_Pin LED4_Pin */
  GPIO_InitStruct.Pin = AI2_Pin|AI1_Pin|BI1_Pin|BI2_Pin
                          |LED5_Pin|LED6_Pin|LED3_Pin|LED4_Pin;
  GPIO_InitStruct.Mode = GPIO_MODE_OUTPUT_PP;
  GPIO_InitStruct.Pull = GPIO_NOPULL;
  GPIO_InitStruct.Speed = GPIO_SPEED_FREQ_LOW;
  HAL_GPIO_Init(GPIOB, &GPIO_InitStruct);

  /*Configure GPIO pins : SW1_Pin SW2_Pin */
  GPIO_InitStruct.Pin = SW1_Pin|SW2_Pin;
  GPIO_InitStruct.Mode = GPIO_MODE_INPUT;
  GPIO_InitStruct.Pull = GPIO_PULLUP;
  HAL_GPIO_Init(GPIOB, &GPIO_InitStruct);

}

/* USER CODE BEGIN 4 */
void filter_gyro(){
	printf("Start probe filter\r\n");
	HAL_Delay(500);
	for(uint8_t x = 0; x < 10; x++){
		printf("*");
	    HAL_Delay(100);
	}
	printf("*\r\n");
	for(int x = 0; x < 1000; x++){
		MPU6050_Read_Gyro(&hi2c1, &MPU6050);
		froll += MPU6050.Gx;
		fpitch += MPU6050.Gy;
		fyaw += MPU6050.Gz;
	}
	froll = froll / 1000;
	fpitch = fpitch /1000;
	fyaw = fyaw/1000;
	printf("froll: %.2f fpitch: %.2f fyaw: %.2f\r\n",froll, fpitch, fyaw);
	printf("Prove filter done!\r\n");

}
/* USER CODE END 4 */

void Error_Handler(void)
{
  __disable_irq();
  while (1)
  {
  }
}
